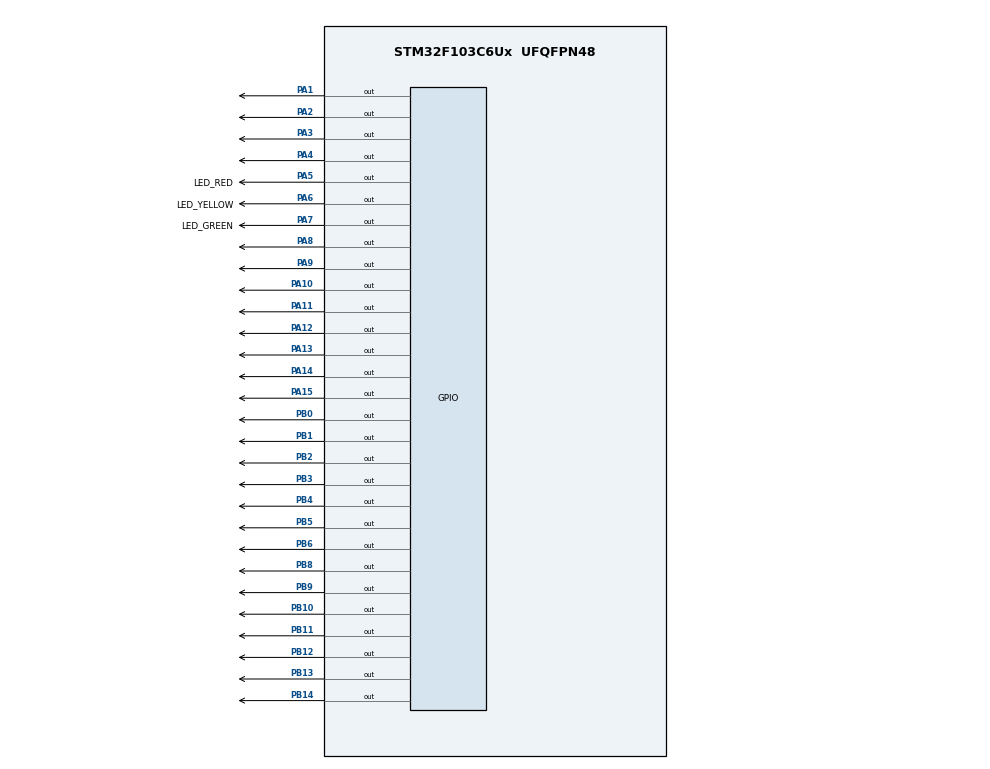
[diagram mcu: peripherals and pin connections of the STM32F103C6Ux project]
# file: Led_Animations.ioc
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Mcu.Family=STM32F1
Mcu.Name=STM32F103C6Ux
Mcu.Package=UFQFPN48
NVIC.PriorityGroup=NVIC_PRIORITYGROUP_4
PA1.Signal=GPIO_Output
PA10.Signal=GPIO_Output
PA11.Signal=GPIO_Output
PA12.Signal=GPIO_Output
PA13.Signal=GPIO_Output
PA14.Signal=GPIO_Output
PA15.Signal=GPIO_Output
PA2.Signal=GPIO_Output
PA3.Signal=GPIO_Output
PA4.Signal=GPIO_Output
PA5.GPIO_Label=LED_RED
PA5.Signal=GPIO_Output
PA6.GPIO_Label=LED_YELLOW
PA6.Signal=GPIO_Output
PA7.GPIO_Label=LED_GREEN
PA7.Signal=GPIO_Output
PA8.Signal=GPIO_Output
PA9.Signal=GPIO_Output
PB0.Signal=GPIO_Output
PB1.Signal=GPIO_Output
PB10.Signal=GPIO_Output
PB11.Signal=GPIO_Output
PB12.Signal=GPIO_Output
PB13.Signal=GPIO_Output
PB14.Signal=GPIO_Output
PB2.Signal=GPIO_Output
PB3.Signal=GPIO_Output
PB4.Signal=GPIO_Output
PB5.Signal=GPIO_Output
PB6.Signal=GPIO_Output
PB8.Signal=GPIO_Output
PB9.Signal=GPIO_Output
ProjectManager.HeapSize=0x200
ProjectManager.StackSize=0x400
ProjectManager.TargetToolchain=STM32CubeIDE
RCC.APB1Freq_Value=8000000
RCC.APB2Freq_Value=8000000
VP_SYS_VS_ND.Mode=No_Debug
board=custom

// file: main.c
/* USER CODE BEGIN Header */
/**
  ******************************************************************************
  * @file           : main.c
  * @brief          : Main program body
  ******************************************************************************
  * @attention
  *
  * <h2><center>&copy; Copyright (c) 2024 STMicroelectronics.
  * All rights reserved.</center></h2>
  *
  * This software component is licensed by ST under BSD 3-Clause license,
  * the "License"; You may not use this file except in compliance with the
  * License. You may obtain a copy of the License at:
  *                        opensource.org/licenses/BSD-3-Clause
  *
  ******************************************************************************
  */
/* USER CODE END Header */
#include "main.h"

void SystemClock_Config(void);
static void MX_GPIO_Init(void);

/* USER CODE BEGIN 0 */
void display7SEG(int num){
	if (num == 0){
		HAL_GPIO_WritePin(GPIOB, GPIO_PIN_0, SET);
		HAL_GPIO_WritePin(GPIOB, GPIO_PIN_1, RESET);
		HAL_GPIO_WritePin(GPIOB, GPIO_PIN_2, RESET);
		HAL_GPIO_WritePin(GPIOB, GPIO_PIN_3, RESET);
		HAL_GPIO_WritePin(GPIOB, GPIO_PIN_4, RESET);
		HAL_GPIO_WritePin(GPIOB, GPIO_PIN_5, RESET);
		HAL_GPIO_WritePin(GPIOB, GPIO_PIN_6, RESET);
		HAL_GPIO_WritePin(GPIOB, GPIO_PIN_7, RESET);
	}else if (num == 1){
		HAL_GPIO_WritePin(GPIOB, GPIO_PIN_0, SET);
		HAL_GPIO_WritePin(GPIOB, GPIO_PIN_1, SET);
		HAL_GPIO_WritePin(GPIOB, GPIO_PIN_2, SET);
		HAL_GPIO_WritePin(GPIOB, GPIO_PIN_3, SET);
		HAL_GPIO_WritePin(GPIOB, GPIO_PIN_4, RESET);
		HAL_GPIO_WritePin(GPIOB, GPIO_PIN_5, RESET);
		HAL_GPIO_WritePin(GPIOB, GPIO_PIN_6, SET);
		HAL_GPIO_WritePin(GPIOB, GPIO_PIN_7, SET);
	}else if (num == 2){
		HAL_GPIO_WritePin(GPIOB, GPIO_PIN_0, RESET);
		HAL_GPIO_WritePin(GPIOB, GPIO_PIN_1, SET);
		HAL_GPIO_WritePin(GPIOB, GPIO_PIN_2, RESET);
		HAL_GPIO_WritePin(GPIOB, GPIO_PIN_3, RESET);
		HAL_GPIO_WritePin(GPIOB, GPIO_PIN_4, SET);
		HAL_GPIO_WritePin(GPIOB, GPIO_PIN_5, RESET);
		HAL_GPIO_WritePin(GPIOB, GPIO_PIN_6, RESET);
		HAL_GPIO_WritePin(GPIOB, GPIO_PIN_7, SET);
	}else if (num == 3){
		HAL_GPIO_WritePin(GPIOB, GPIO_PIN_0, RESET);
		HAL_GPIO_WritePin(GPIOB, GPIO_PIN_1, SET);
		HAL_GPIO_WritePin(GPIOB, GPIO_PIN_2, SET);
		HAL_GPIO_WritePin(GPIOB, GPIO_PIN_3, RESET);
		HAL_GPIO_WritePin(GPIOB, GPIO_PIN_4, RESET);
		HAL_GPIO_WritePin(GPIOB, GPIO_PIN_5, RESET);
		HAL_GPIO_WritePin(GPIOB, GPIO_PIN_6, RESET);
		HAL_GPIO_WritePin(GPIOB, GPIO_PIN_7, RESET);
	}else if (num == 4){
		HAL_GPIO_WritePin(GPIOB, GPIO_PIN_0, RESET);
		HAL_GPIO_WritePin(GPIOB, GPIO_PIN_1, RESET);
		HAL_GPIO_WritePin(GPIOB, GPIO_PIN_2, SET);
		HAL_GPIO_WritePin(GPIOB, GPIO_PIN_3, SET);
		HAL_GPIO_WritePin(GPIOB, GPIO_PIN_4, RESET);
		HAL_GPIO_WritePin(GPIOB, GPIO_PIN_5, RESET);
		HAL_GPIO_WritePin(GPIOB, GPIO_PIN_6, SET);
		HAL_GPIO_WritePin(GPIOB, GPIO_PIN_7, RESET);
	}else if (num == 5){
		HAL_GPIO_WritePin(GPIOB, GPIO_PIN_0, RESET);
		HAL_GPIO_WritePin(GPIOB, GPIO_PIN_1, RESET);
		HAL_GPIO_WritePin(GPIOB, GPIO_PIN_2, SET);
		HAL_GPIO_WritePin(GPIOB, GPIO_PIN_3, RESET);
		HAL_GPIO_WritePin(GPIOB, GPIO_PIN_4, RESET);
		HAL_GPIO_WritePin(GPIOB, GPIO_PIN_5, SET);
		HAL_GPIO_WritePin(GPIOB, GPIO_PIN_6, RESET);
		HAL_GPIO_WritePin(GPIOB, GPIO_PIN_7, RESET);
	}else if (num == 6){
		HAL_GPIO_WritePin(GPIOB, GPIO_PIN_0, RESET);
		HAL_GPIO_WritePin(GPIOB, GPIO_PIN_1, RESET);
		HAL_GPIO_WritePin(GPIOB, GPIO_PIN_2, RESET);
		HAL_GPIO_WritePin(GPIOB, GPIO_PIN_3, RESET);
		HAL_GPIO_WritePin(GPIOB, GPIO_PIN_4, RESET);
		HAL_GPIO_WritePin(GPIOB, GPIO_PIN_5, SET);
		HAL_GPIO_WritePin(GPIOB, GPIO_PIN_6, RESET);
		HAL_GPIO_WritePin(GPIOB, GPIO_PIN_7, RESET);
	}else if (num == 7){
		HAL_GPIO_WritePin(GPIOB, GPIO_PIN_0, SET);
		HAL_GPIO_WritePin(GPIOB, GPIO_PIN_1, SET);
		HAL_GPIO_WritePin(GPIOB, GPIO_PIN_2, SET);
		HAL_GPIO_WritePin(GPIOB, GPIO_PIN_3, SET);
		HAL_GPIO_WritePin(GPIOB, GPIO_PIN_4, RESET);
		HAL_GPIO_WritePin(GPIOB, GPIO_PIN_5, RESET);
		HAL_GPIO_WritePin(GPIOB, GPIO_PIN_6, RESET);
		HAL_GPIO_WritePin(GPIOB, GPIO_PIN_7, RESET);
	}else if (num == 8){
		HAL_GPIO_WritePin(GPIOB, GPIO_PIN_0, RESET);
		HAL_GPIO_WritePin(GPIOB, GPIO_PIN_1, RESET);
		HAL_GPIO_WritePin(GPIOB, GPIO_PIN_2, RESET);
		HAL_GPIO_WritePin(GPIOB, GPIO_PIN_3, RESET);
		HAL_GPIO_WritePin(GPIOB, GPIO_PIN_4, RESET);
		HAL_GPIO_WritePin(GPIOB, GPIO_PIN_5, RESET);
		HAL_GPIO_WritePin(GPIOB, GPIO_PIN_6, RESET);
		HAL_GPIO_WritePin(GPIOB, GPIO_PIN_7, RESET);
	}else {
		HAL_GPIO_WritePin(GPIOB, GPIO_PIN_0, RESET);
		HAL_GPIO_WritePin(GPIOB, GPIO_PIN_1, RESET);
		HAL_GPIO_WritePin(GPIOB, GPIO_PIN_2, SET);
		HAL_GPIO_WritePin(GPIOB, GPIO_PIN_3, RESET);
		HAL_GPIO_WritePin(GPIOB, GPIO_PIN_4, RESET);
		HAL_GPIO_WritePin(GPIOB, GPIO_PIN_5, RESET);
		HAL_GPIO_WritePin(GPIOB, GPIO_PIN_6, RESET);
		HAL_GPIO_WritePin(GPIOB, GPIO_PIN_7, RESET);
	}
}

void display7SEG2(int num){
	if (num == 0){
		HAL_GPIO_WritePin(GPIOB, GPIO_PIN_8, SET);
		HAL_GPIO_WritePin(GPIOB, GPIO_PIN_9, RESET);
		HAL_GPIO_WritePin(GPIOB, GPIO_PIN_10, RESET);
		HAL_GPIO_WritePin(GPIOB, GPIO_PIN_11, RESET);
		HAL_GPIO_WritePin(GPIOB, GPIO_PIN_12, RESET);
		HAL_GPIO_WritePin(GPIOB, GPIO_PIN_13, RESET);
		HAL_GPIO_WritePin(GPIOB, GPIO_PIN_14, RESET);
	}else if (num == 1){
		HAL_GPIO_WritePin(GPIOB, GPIO_PIN_8, SET);
		HAL_GPIO_WritePin(GPIOB, GPIO_PIN_9, SET);
		HAL_GPIO_WritePin(GPIOB, GPIO_PIN_10, SET);
		HAL_GPIO_WritePin(GPIOB, GPIO_PIN_11, SET);
		HAL_GPIO_WritePin(GPIOB, GPIO_PIN_12, RESET);
		HAL_GPIO_WritePin(GPIOB, GPIO_PIN_13, RESET);
		HAL_GPIO_WritePin(GPIOB, GPIO_PIN_14, SET);
	}else if (num == 2){
		HAL_GPIO_WritePin(GPIOB, GPIO_PIN_8, RESET);
		HAL_GPIO_WritePin(GPIOB, GPIO_PIN_9, SET);
		HAL_GPIO_WritePin(GPIOB, GPIO_PIN_10, RESET);
		HAL_GPIO_WritePin(GPIOB, GPIO_PIN_11, RESET);
		HAL_GPIO_WritePin(GPIOB, GPIO_PIN_12, SET);
		HAL_GPIO_WritePin(GPIOB, GPIO_PIN_13, RESET);
		HAL_GPIO_WritePin(GPIOB, GPIO_PIN_14, RESET);
	}else if (num == 3){
		HAL_GPIO_WritePin(GPIOB, GPIO_PIN_8, RESET);
		HAL_GPIO_WritePin(GPIOB, GPIO_PIN_9, SET);
		HAL_GPIO_WritePin(GPIOB, GPIO_PIN_10, SET);
		HAL_GPIO_WritePin(GPIOB, GPIO_PIN_11, RESET);
		HAL_GPIO_WritePin(GPIOB, GPIO_PIN_12, RESET);
		HAL_GPIO_WritePin(GPIOB, GPIO_PIN_13, RESET);
		HAL_GPIO_WritePin(GPIOB, GPIO_PIN_14, RESET);
	}else if (num == 4){
		HAL_GPIO_WritePin(GPIOB, GPIO_PIN_8, RESET);
		HAL_GPIO_WritePin(GPIOB, GPIO_PIN_9, RESET);
		HAL_GPIO_WritePin(GPIOB, GPIO_PIN_10, SET);
		HAL_GPIO_WritePin(GPIOB, GPIO_PIN_11, SET);
		HAL_GPIO_WritePin(GPIOB, GPIO_PIN_12, RESET);
		HAL_GPIO_WritePin(GPIOB, GPIO_PIN_13, RESET);
		HAL_GPIO_WritePin(GPIOB, GPIO_PIN_14, SET);
	}else if (num == 5){
		HAL_GPIO_WritePin(GPIOB, GPIO_PIN_8, RESET);
		HAL_GPIO_WritePin(GPIOB, GPIO_PIN_9, RESET);
		HAL_GPIO_WritePin(GPIOB, GPIO_PIN_10, SET);
		HAL_GPIO_WritePin(GPIOB, GPIO_PIN_11, RESET);
		HAL_GPIO_WritePin(GPIOB, GPIO_PIN_12, RESET);
		HAL_GPIO_WritePin(GPIOB, GPIO_PIN_13, SET);
		HAL_GPIO_WritePin(GPIOB, GPIO_PIN_14, RESET);
	}else if (num == 6){
		HAL_GPIO_WritePin(GPIOB, GPIO_PIN_0, RESET);
		HAL_GPIO_WritePin(GPIOB, GPIO_PIN_1, RESET);
		HAL_GPIO_WritePin(GPIOB, GPIO_PIN_2, RESET);
		HAL_GPIO_WritePin(GPIOB, GPIO_PIN_3, RESET);
		HAL_GPIO_WritePin(GPIOB, GPIO_PIN_4, RESET);
		HAL_GPIO_WritePin(GPIOB, GPIO_PIN_5, SET);
		HAL_GPIO_WritePin(GPIOB, GPIO_PIN_6, RESET);
	}else if (num == 7){
		HAL_GPIO_WritePin(GPIOB, GPIO_PIN_0, SET);
		HAL_GPIO_WritePin(GPIOB, GPIO_PIN_1, SET);
		HAL_GPIO_WritePin(GPIOB, GPIO_PIN_2, SET);
		HAL_GPIO_WritePin(GPIOB, GPIO_PIN_3, SET);
		HAL_GPIO_WritePin(GPIOB, GPIO_PIN_4, RESET);
		HAL_GPIO_WritePin(GPIOB, GPIO_PIN_5, RESET);
		HAL_GPIO_WritePin(GPIOB, GPIO_PIN_6, RESET);
	}else if (num == 8){
		HAL_GPIO_WritePin(GPIOB, GPIO_PIN_0, RESET);
		HAL_GPIO_WritePin(GPIOB, GPIO_PIN_1, RESET);
		HAL_GPIO_WritePin(GPIOB, GPIO_PIN_2, RESET);
		HAL_GPIO_WritePin(GPIOB, GPIO_PIN_3, RESET);
		HAL_GPIO_WritePin(GPIOB, GPIO_PIN_4, RESET);
		HAL_GPIO_WritePin(GPIOB, GPIO_PIN_5, RESET);
		HAL_GPIO_WritePin(GPIOB, GPIO_PIN_6, RESET);
	}else {
		HAL_GPIO_WritePin(GPIOB, GPIO_PIN_0, RESET);
		HAL_GPIO_WritePin(GPIOB, GPIO_PIN_1, RESET);
		HAL_GPIO_WritePin(GPIOB, GPIO_PIN_2, SET);
		HAL_GPIO_WritePin(GPIOB, GPIO_PIN_3, RESET);
		HAL_GPIO_WritePin(GPIOB, GPIO_PIN_4, RESET);
		HAL_GPIO_WritePin(GPIOB, GPIO_PIN_5, RESET);
		HAL_GPIO_WritePin(GPIOB, GPIO_PIN_6, RESET);
	}
}

void clearAllClock(){
	  HAL_GPIO_WritePin(GPIOA, GPIO_PIN_4, SET);
	  HAL_GPIO_WritePin(GPIOA, GPIO_PIN_5, SET);
	  HAL_GPIO_WritePin(GPIOA, GPIO_PIN_6, SET);
	  HAL_GPIO_WritePin(GPIOA, GPIO_PIN_7, SET);
	  HAL_GPIO_WritePin(GPIOA, GPIO_PIN_8, SET);
	  HAL_GPIO_WritePin(GPIOA, GPIO_PIN_9, SET);
	  HAL_GPIO_WritePin(GPIOA, GPIO_PIN_10, SET);
	  HAL_GPIO_WritePin(GPIOA, GPIO_PIN_11, SET);
	  HAL_GPIO_WritePin(GPIOA, GPIO_PIN_12, SET);
	  HAL_GPIO_WritePin(GPIOA, GPIO_PIN_13, SET);
	  HAL_GPIO_WritePin(GPIOA, GPIO_PIN_14, SET);
	  HAL_GPIO_WritePin(GPIOA, GPIO_PIN_15, SET);

}

void setNumberOnClock(int num){
	if(num == 0){
		  HAL_GPIO_WritePin(GPIOA, GPIO_PIN_4, RESET);

	}else if (num == 1){
		  HAL_GPIO_WritePin(GPIOA, GPIO_PIN_5, RESET);
	}else if (num == 2){
		  HAL_GPIO_WritePin(GPIOA, GPIO_PIN_6, RESET);
	}else if (num == 3){
		  HAL_GPIO_WritePin(GPIOA, GPIO_PIN_7, RESET);
	}else if (num == 4){
		  HAL_GPIO_WritePin(GPIOA, GPIO_PIN_8, RESET);
	}else if (num == 5){
		  HAL_GPIO_WritePin(GPIOA, GPIO_PIN_9, RESET);
	}else if (num == 6){
		  HAL_GPIO_WritePin(GPIOA, GPIO_PIN_10, RESET);
	}else if (num == 7){
		  HAL_GPIO_WritePin(GPIOA, GPIO_PIN_11, RESET);
	}else if (num == 8){
		  HAL_GPIO_WritePin(GPIOA, GPIO_PIN_12, RESET);
	}else if (num == 9){
		  HAL_GPIO_WritePin(GPIOA, GPIO_PIN_13, RESET);
	}else if (num == 10){
		  HAL_GPIO_WritePin(GPIOA, GPIO_PIN_14, RESET);
	}else {
		  HAL_GPIO_WritePin(GPIOA, GPIO_PIN_15, RESET);
	}
}

void clearNumberOnClock(int num){
	if(num == 0){
		  HAL_GPIO_WritePin(GPIOA, GPIO_PIN_4, SET);
	}else if (num == 1){
		  HAL_GPIO_WritePin(GPIOA, GPIO_PIN_5, SET);
	}else if (num == 2){
		  HAL_GPIO_WritePin(GPIOA, GPIO_PIN_6, SET);
	}else if (num == 3){
		  HAL_GPIO_WritePin(GPIOA, GPIO_PIN_7, SET);
	}else if (num == 4){
		  HAL_GPIO_WritePin(GPIOA, GPIO_PIN_8, SET);
	}else if (num == 5){
		  HAL_GPIO_WritePin(GPIOA, GPIO_PIN_9, SET);
	}else if (num == 6){
		  HAL_GPIO_WritePin(GPIOA, GPIO_PIN_10, SET);
	}else if (num == 7){
		  HAL_GPIO_WritePin(GPIOA, GPIO_PIN_11, SET);
	}else if (num == 8){
		  HAL_GPIO_WritePin(GPIOA, GPIO_PIN_12, SET);
	}else if (num == 9){
		  HAL_GPIO_WritePin(GPIOA, GPIO_PIN_13, SET);
	}else if (num == 10){
		  HAL_GPIO_WritePin(GPIOA, GPIO_PIN_14, SET);
	}else {
		  HAL_GPIO_WritePin(GPIOA, GPIO_PIN_15, SET);
	}
}

/* USER CODE END 0 */

int main(void)
{

  /* MCU Configuration--------------------------------------------------------*/

  /* Reset of all peripherals, Initializes the Flash interface and the Systick. */
  HAL_Init();

  /* Configure the system clock */
  SystemClock_Config();

  /* Initialize all configured peripherals */
  MX_GPIO_Init();

  /* Infinite loop */
  /* USER CODE BEGIN WHILE */
  int h = 0;
  int m = 0;
  int s = 0;
  while (1)
  {
////	  	4.1
//	  HAL_GPIO_TogglePin(GPIOA, GPIO_PIN_2);
//
//	  HAL_Delay(2000);
//
//	  HAL_GPIO_TogglePin(GPIOA, GPIO_PIN_3);

	  //	4.2
//	  	  HAL_GPIO_WritePin(GPIOA, GPIO_PIN_3, SET);
//	  	  HAL_GPIO_WritePin(GPIOA, GPIO_PIN_1, SET);
//
//	  	  HAL_Delay(5000);
//
//	  	  HAL_GPIO_WritePin(GPIOA, GPIO_PIN_2, SET);
//
//
//	  	  HAL_GPIO_WritePin(GPIOA, GPIO_PIN_3, RESET);
//
//	  	  HAL_Delay(2000);
//
//	  	  HAL_GPIO_WritePin(GPIOA, GPIO_PIN_3, SET);
//
//	  	  HAL_GPIO_WritePin(GPIOA, GPIO_PIN_1, RESET);
//
//	  	  HAL_Delay(3000);
//
//	  	  HAL_GPIO_WritePin(GPIOA, GPIO_PIN_2, RESET);

	  //	4.3
//	  	  HAL_GPIO_WritePin(GPIOA, GPIO_PIN_5, RESET);
//		  HAL_GPIO_WritePin(GPIOA, GPIO_PIN_6, SET);
//		  HAL_GPIO_WritePin(GPIOA, GPIO_PIN_7, SET);
//
//		  HAL_GPIO_WritePin(GPIOA, GPIO_PIN_8, SET);
//		  HAL_GPIO_WritePin(GPIOA, GPIO_PIN_9, SET);
//		  HAL_GPIO_WritePin(GPIOA, GPIO_PIN_10, RESET);
//
//		  HAL_Delay(3000);	///////////////////////////////////////////////////////
//
//		  HAL_GPIO_WritePin(GPIOA, GPIO_PIN_10, SET);
//		  HAL_GPIO_WritePin(GPIOA, GPIO_PIN_9, RESET);
//
//		  HAL_Delay(2000);	///////////////////////////////////////////////////////
//
//		  HAL_GPIO_WritePin(GPIOA, GPIO_PIN_5, SET);
//		  HAL_GPIO_WritePin(GPIOA, GPIO_PIN_7, RESET);
//
//		  HAL_GPIO_WritePin(GPIOA, GPIO_PIN_8, RESET);
//		  HAL_GPIO_WritePin(GPIOA, GPIO_PIN_9, SET);
//
//
//		  HAL_Delay(3000);	///////////////////////////////////////////////////////
//
//		  HAL_GPIO_WritePin(GPIOA, GPIO_PIN_7, SET);
//		  HAL_GPIO_WritePin(GPIOA, GPIO_PIN_6, RESET);
//
//
//
//		  HAL_Delay(2000);	///////////////////////////////////////////////////////

//	  //	4.4
	  HAL_GPIO_WritePin(GPIOA, GPIO_PIN_5, RESET);
	  HAL_GPIO_WritePin(GPIOA, GPIO_PIN_6, SET);
	  HAL_GPIO_WritePin(GPIOA, GPIO_PIN_7, SET);

	  HAL_GPIO_WritePin(GPIOA, GPIO_PIN_8, SET);
	  HAL_GPIO_WritePin(GPIOA, GPIO_PIN_9, SET);
	  HAL_GPIO_WritePin(GPIOA, GPIO_PIN_10, RESET);

	  display7SEG2(2);
	  display7SEG(4);
	  HAL_Delay(1000);

	  display7SEG2(1);
	  display7SEG(3);
	  HAL_Delay(1000);

	  display7SEG2(0);
	  display7SEG(2);

	  HAL_Delay(1000);	/////////////////////////////////////////////////////// 3000

	  HAL_GPIO_WritePin(GPIOA, GPIO_PIN_10, SET);
	  HAL_GPIO_WritePin(GPIOA, GPIO_PIN_9, RESET);

	  display7SEG2(1);
	  display7SEG(1);
	  HAL_Delay(1000);

	  display7SEG2(0);
	  display7SEG(0);

	  HAL_Delay(1000);	///////////////////////////////////////////////////////	2000

	  HAL_GPIO_WritePin(GPIOA, GPIO_PIN_5, SET);
	  HAL_GPIO_WritePin(GPIOA, GPIO_PIN_7, RESET);

	  HAL_GPIO_WritePin(GPIOA, GPIO_PIN_8, RESET);
	  HAL_GPIO_WritePin(GPIOA, GPIO_PIN_9, SET);

	  display7SEG2(4);
	  display7SEG(2);
	  HAL_Delay(1000);

	  display7SEG2(3);
	  display7SEG(1);
	  HAL_Delay(1000);

	  display7SEG2(2);
	  display7SEG(0);

	  HAL_Delay(1000);	///////////////////////////////////////////////////////	3000

	  HAL_GPIO_WritePin(GPIOA, GPIO_PIN_7, SET);
	  HAL_GPIO_WritePin(GPIOA, GPIO_PIN_6, RESET);

	  display7SEG2(1);
	  display7SEG(1);
	  HAL_Delay(1000);

	  display7SEG2(0);
	  display7SEG(0);

	  HAL_Delay(1000);	///////////////////////////////////////////////////////	2000

////	  	4.6
//	  HAL_GPIO_WritePin(GPIOA, GPIO_PIN_4, RESET);
//	  HAL_GPIO_WritePin(GPIOA, GPIO_PIN_5, SET);
//	  HAL_GPIO_WritePin(GPIOA, GPIO_PIN_6, SET);
//	  HAL_GPIO_WritePin(GPIOA, GPIO_PIN_7, SET);
//	  HAL_GPIO_WritePin(GPIOA, GPIO_PIN_8, SET);
//	  HAL_GPIO_WritePin(GPIOA, GPIO_PIN_9, SET);
//	  HAL_GPIO_WritePin(GPIOA, GPIO_PIN_10, SET);
//	  HAL_GPIO_WritePin(GPIOA, GPIO_PIN_11, SET);
//	  HAL_GPIO_WritePin(GPIOA, GPIO_PIN_12, SET);
//	  HAL_GPIO_WritePin(GPIOA, GPIO_PIN_13, SET);
//	  HAL_GPIO_WritePin(GPIOA, GPIO_PIN_14, SET);
//	  HAL_GPIO_WritePin(GPIOA, GPIO_PIN_15, SET);
//
//	  HAL_Delay(1000);	///////////////////////////////////////////////////////	1
//
//	  HAL_GPIO_WritePin(GPIOA, GPIO_PIN_4, SET);
//	  HAL_GPIO_WritePin(GPIOA, GPIO_PIN_5, RESET);
//	  HAL_GPIO_WritePin(GPIOA, GPIO_PIN_6, SET);
//	  HAL_GPIO_WritePin(GPIOA, GPIO_PIN_7, SET);
//	  HAL_GPIO_WritePin(GPIOA, GPIO_PIN_8, SET);
//	  HAL_GPIO_WritePin(GPIOA, GPIO_PIN_9, SET);
//	  HAL_GPIO_WritePin(GPIOA, GPIO_PIN_10, SET);
//	  HAL_GPIO_WritePin(GPIOA, GPIO_PIN_11, SET);
//	  HAL_GPIO_WritePin(GPIOA, GPIO_PIN_12, SET);
//	  HAL_GPIO_WritePin(GPIOA, GPIO_PIN_13, SET);
//	  HAL_GPIO_WritePin(GPIOA, GPIO_PIN_14, SET);
//	  HAL_GPIO_WritePin(GPIOA, GPIO_PIN_15, SET);
//
//	  HAL_Delay(1000);	///////////////////////////////////////////////////////	2
//
//	  HAL_GPIO_WritePin(GPIOA, GPIO_PIN_4, SET);
//	  HAL_GPIO_WritePin(GPIOA, GPIO_PIN_5, SET);
//	  HAL_GPIO_WritePin(GPIOA, GPIO_PIN_6, RESET);
//	  HAL_GPIO_WritePin(GPIOA, GPIO_PIN_7, SET);
//	  HAL_GPIO_WritePin(GPIOA, GPIO_PIN_8, SET);
//	  HAL_GPIO_WritePin(GPIOA, GPIO_PIN_9, SET);
//	  HAL_GPIO_WritePin(GPIOA, GPIO_PIN_10, SET);
//	  HAL_GPIO_WritePin(GPIOA, GPIO_PIN_11, SET);
//	  HAL_GPIO_WritePin(GPIOA, GPIO_PIN_12, SET);
//	  HAL_GPIO_WritePin(GPIOA, GPIO_PIN_13, SET);
//	  HAL_GPIO_WritePin(GPIOA, GPIO_PIN_14, SET);
//	  HAL_GPIO_WritePin(GPIOA, GPIO_PIN_15, SET);
//
//	  HAL_Delay(1000);	///////////////////////////////////////////////////////	3
//
//	  HAL_GPIO_WritePin(GPIOA, GPIO_PIN_4, SET);
//	  HAL_GPIO_WritePin(GPIOA, GPIO_PIN_5, SET);
//	  HAL_GPIO_WritePin(GPIOA, GPIO_PIN_6, SET);
//	  HAL_GPIO_WritePin(GPIOA, GPIO_PIN_7, RESET);
//	  HAL_GPIO_WritePin(GPIOA, GPIO_PIN_8, SET);
//	  HAL_GPIO_WritePin(GPIOA, GPIO_PIN_9, SET);
//	  HAL_GPIO_WritePin(GPIOA, GPIO_PIN_10, SET);
//	  HAL_GPIO_WritePin(GPIOA, GPIO_PIN_11, SET);
//	  HAL_GPIO_WritePin(GPIOA, GPIO_PIN_12, SET);
//	  HAL_GPIO_WritePin(GPIOA, GPIO_PIN_13, SET);
//	  HAL_GPIO_WritePin(GPIOA, GPIO_PIN_14, SET);
//	  HAL_GPIO_WritePin(GPIOA, GPIO_PIN_15, SET);
//
//	  HAL_Delay(1000);	///////////////////////////////////////////////////////	4
//
//	  HAL_GPIO_WritePin(GPIOA, GPIO_PIN_4, SET);
//	  HAL_GPIO_WritePin(GPIOA, GPIO_PIN_5, SET);
//	  HAL_GPIO_WritePin(GPIOA, GPIO_PIN_6, SET);
//	  HAL_GPIO_WritePin(GPIOA, GPIO_PIN_7, SET);
//	  HAL_GPIO_WritePin(GPIOA, GPIO_PIN_8, RESET);
//	  HAL_GPIO_WritePin(GPIOA, GPIO_PIN_9, SET);
//	  HAL_GPIO_WritePin(GPIOA, GPIO_PIN_10, SET);
//	  HAL_GPIO_WritePin(GPIOA, GPIO_PIN_11, SET);
//	  HAL_GPIO_WritePin(GPIOA, GPIO_PIN_12, SET);
//	  HAL_GPIO_WritePin(GPIOA, GPIO_PIN_13, SET);
//	  HAL_GPIO_WritePin(GPIOA, GPIO_PIN_14, SET);
//	  HAL_GPIO_WritePin(GPIOA, GPIO_PIN_15, SET);
//
//	  HAL_Delay(1000);	///////////////////////////////////////////////////////	5
//
//	  HAL_GPIO_WritePin(GPIOA, GPIO_PIN_4, SET);
//	  HAL_GPIO_WritePin(GPIOA, GPIO_PIN_5, SET);
//	  HAL_GPIO_WritePin(GPIOA, GPIO_PIN_6, SET);
//	  HAL_GPIO_WritePin(GPIOA, GPIO_PIN_7, SET);
//	  HAL_GPIO_WritePin(GPIOA, GPIO_PIN_8, SET);
//	  HAL_GPIO_WritePin(GPIOA, GPIO_PIN_9, RESET);
//	  HAL_GPIO_WritePin(GPIOA, GPIO_PIN_10, SET);
//	  HAL_GPIO_WritePin(GPIOA, GPIO_PIN_11, SET);
//	  HAL_GPIO_WritePin(GPIOA, GPIO_PIN_12, SET);
//	  HAL_GPIO_WritePin(GPIOA, GPIO_PIN_13, SET);
//	  HAL_GPIO_WritePin(GPIOA, GPIO_PIN_14, SET);
//	  HAL_GPIO_WritePin(GPIOA, GPIO_PIN_15, SET);
//
//	  HAL_Delay(1000);	///////////////////////////////////////////////////////	6
//
//	  HAL_GPIO_WritePin(GPIOA, GPIO_PIN_4, SET);
//	  HAL_GPIO_WritePin(GPIOA, GPIO_PIN_5, SET);
//	  HAL_GPIO_WritePin(GPIOA, GPIO_PIN_6, SET);
//	  HAL_GPIO_WritePin(GPIOA, GPIO_PIN_7, SET);
//	  HAL_GPIO_WritePin(GPIOA, GPIO_PIN_8, SET);
//	  HAL_GPIO_WritePin(GPIOA, GPIO_PIN_9, SET);
//	  HAL_GPIO_WritePin(GPIOA, GPIO_PIN_10, RESET);
//	  HAL_GPIO_WritePin(GPIOA, GPIO_PIN_11, SET);
//	  HAL_GPIO_WritePin(GPIOA, GPIO_PIN_12, SET);
//	  HAL_GPIO_WritePin(GPIOA, GPIO_PIN_13, SET);
//	  HAL_GPIO_WritePin(GPIOA, GPIO_PIN_14, SET);
//	  HAL_GPIO_WritePin(GPIOA, GPIO_PIN_15, SET);
//
//	  HAL_Delay(1000);	///////////////////////////////////////////////////////	7
//
//	  HAL_GPIO_WritePin(GPIOA, GPIO_PIN_4, SET);
//	  HAL_GPIO_WritePin(GPIOA, GPIO_PIN_5, SET);
//	  HAL_GPIO_WritePin(GPIOA, GPIO_PIN_6, SET);
//	  HAL_GPIO_WritePin(GPIOA, GPIO_PIN_7, SET);
//	  HAL_GPIO_WritePin(GPIOA, GPIO_PIN_8, SET);
//	  HAL_GPIO_WritePin(GPIOA, GPIO_PIN_9, SET);
//	  HAL_GPIO_WritePin(GPIOA, GPIO_PIN_10, SET);
//	  HAL_GPIO_WritePin(GPIOA, GPIO_PIN_11, RESET);
//	  HAL_GPIO_WritePin(GPIOA, GPIO_PIN_12, SET);
//	  HAL_GPIO_WritePin(GPIOA, GPIO_PIN_13, SET);
//	  HAL_GPIO_WritePin(GPIOA, GPIO_PIN_14, SET);
//	  HAL_GPIO_WritePin(GPIOA, GPIO_PIN_15, SET);
//
//	  HAL_Delay(1000);	///////////////////////////////////////////////////////	8
//
//	  HAL_GPIO_WritePin(GPIOA, GPIO_PIN_4, SET);
//	  HAL_GPIO_WritePin(GPIOA, GPIO_PIN_5, SET);
//	  HAL_GPIO_WritePin(GPIOA, GPIO_PIN_6, SET);
//	  HAL_GPIO_WritePin(GPIOA, GPIO_PIN_7, SET);
//	  HAL_GPIO_WritePin(GPIOA, GPIO_PIN_8, SET);
//	  HAL_GPIO_WritePin(GPIOA, GPIO_PIN_9, SET);
//	  HAL_GPIO_WritePin(GPIOA, GPIO_PIN_10, SET);
//	  HAL_GPIO_WritePin(GPIOA, GPIO_PIN_11, SET);
//	  HAL_GPIO_WritePin(GPIOA, GPIO_PIN_12, RESET);
//	  HAL_GPIO_WritePin(GPIOA, GPIO_PIN_13, SET);
//	  HAL_GPIO_WritePin(GPIOA, GPIO_PIN_14, SET);
//	  HAL_GPIO_WritePin(GPIOA, GPIO_PIN_15, SET);
//
//	  HAL_Delay(1000);	///////////////////////////////////////////////////////	9
//
//	  HAL_GPIO_WritePin(GPIOA, GPIO_PIN_4, SET);
//	  HAL_GPIO_WritePin(GPIOA, GPIO_PIN_5, SET);
//	  HAL_GPIO_WritePin(GPIOA, GPIO_PIN_6, SET);
//	  HAL_GPIO_WritePin(GPIOA, GPIO_PIN_7, SET);
//	  HAL_GPIO_WritePin(GPIOA, GPIO_PIN_8, SET);
//	  HAL_GPIO_WritePin(GPIOA, GPIO_PIN_9, SET);
//	  HAL_GPIO_WritePin(GPIOA, GPIO_PIN_10, SET);
//	  HAL_GPIO_WritePin(GPIOA, GPIO_PIN_11, SET);
//	  HAL_GPIO_WritePin(GPIOA, GPIO_PIN_12, SET);
//	  HAL_GPIO_WritePin(GPIOA, GPIO_PIN_13, RESET);
//	  HAL_GPIO_WritePin(GPIOA, GPIO_PIN_14, SET);
//	  HAL_GPIO_WritePin(GPIOA, GPIO_PIN_15, SET);
//
//	  HAL_Delay(1000);	///////////////////////////////////////////////////////	10
//
//	  HAL_GPIO_WritePin(GPIOA, GPIO_PIN_4, SET);
//	  HAL_GPIO_WritePin(GPIOA, GPIO_PIN_5, SET);
//	  HAL_GPIO_WritePin(GPIOA, GPIO_PIN_6, SET);
//	  HAL_GPIO_WritePin(GPIOA, GPIO_PIN_7, SET);
//	  HAL_GPIO_WritePin(GPIOA, GPIO_PIN_8, SET);
//	  HAL_GPIO_WritePin(GPIOA, GPIO_PIN_9, SET);
//	  HAL_GPIO_WritePin(GPIOA, GPIO_PIN_10, SET);
//	  HAL_GPIO_WritePin(GPIOA, GPIO_PIN_11, SET);
//	  HAL_GPIO_WritePin(GPIOA, GPIO_PIN_12, SET);
//	  HAL_GPIO_WritePin(GPIOA, GPIO_PIN_13, SET);
//	  HAL_GPIO_WritePin(GPIOA, GPIO_PIN_14, RESET);
//	  HAL_GPIO_WritePin(GPIOA, GPIO_PIN_15, SET);
//
//	  HAL_Delay(1000);	///////////////////////////////////////////////////////	11
//
//	  HAL_GPIO_WritePin(GPIOA, GPIO_PIN_4, SET);
//	  HAL_GPIO_WritePin(GPIOA, GPIO_PIN_5, SET);
//	  HAL_GPIO_WritePin(GPIOA, GPIO_PIN_6, SET);
//	  HAL_GPIO_WritePin(GPIOA, GPIO_PIN_7, SET);
//	  HAL_GPIO_WritePin(GPIOA, GPIO_PIN_8, SET);
//	  HAL_GPIO_WritePin(GPIOA, GPIO_PIN_9, SET);
//	  HAL_GPIO_WritePin(GPIOA, GPIO_PIN_10, SET);
//	  HAL_GPIO_WritePin(GPIOA, GPIO_PIN_11, SET);
//	  HAL_GPIO_WritePin(GPIOA, GPIO_PIN_12, SET);
//	  HAL_GPIO_WritePin(GPIOA, GPIO_PIN_13, SET);
//	  HAL_GPIO_WritePin(GPIOA, GPIO_PIN_14, SET);
//	  HAL_GPIO_WritePin(GPIOA, GPIO_PIN_15, RESET);
//
//	  HAL_Delay(1000);

	  //	4.10

//		  clearNumberOnClock(h);
//		  clearNumberOnClock(m/5);
//		  clearNumberOnClock(s/5);
//
//		  	  if (s == 60) {
//		  		  s = 0;
//		  		  m += 1;
//		  	  }
//		  	  if (m == 60) {
//		  		  m = 0;
//		  		  h += 1;
//		  	  }
//		  	  if (h == 12)
//		  		  h = 0;
//
//		  	  s += 1;
//
//		  	setNumberOnClock(h);
//		  	setNumberOnClock(m/5);
//		  	setNumberOnClock(s/5);
//
//		  	  HAL_Delay(20);

    /* USER CODE END WHILE */

  }
}

void SystemClock_Config(void)
{
  RCC_OscInitTypeDef RCC_OscInitStruct = {0};
  RCC_ClkInitTypeDef RCC_ClkInitStruct = {0};

  /** Initializes the RCC Oscillators according to the specified parameters
  * in the RCC_OscInitTypeDef structure.
  */
  RCC_OscInitStruct.OscillatorType = RCC_OSCILLATORTYPE_HSI;
  RCC_OscInitStruct.HSIState = RCC_HSI_ON;
  RCC_OscInitStruct.HSICalibrationValue = RCC_HSICALIBRATION_DEFAULT;
  RCC_OscInitStruct.PLL.PLLState = RCC_PLL_NONE;
  if (HAL_RCC_OscConfig(&RCC_OscInitStruct) != HAL_OK)
  {
    Error_Handler();
  }
  /** Initializes the CPU, AHB and APB buses clocks
  */
  RCC_ClkInitStruct.ClockType = RCC_CLOCKTYPE_HCLK|RCC_CLOCKTYPE_SYSCLK
                              |RCC_CLOCKTYPE_PCLK1|RCC_CLOCKTYPE_PCLK2;
  RCC_ClkInitStruct.SYSCLKSource = RCC_SYSCLKSOURCE_HSI;
  RCC_ClkInitStruct.AHBCLKDivider = RCC_SYSCLK_DIV1;
  RCC_ClkInitStruct.APB1CLKDivider = RCC_HCLK_DIV1;
  RCC_ClkInitStruct.APB2CLKDivider = RCC_HCLK_DIV1;

  if (HAL_RCC_ClockConfig(&RCC_ClkInitStruct, FLASH_LATENCY_0) != HAL_OK)
  {
    Error_Handler();
  }
}

static void MX_GPIO_Init(void)
{
  GPIO_InitTypeDef GPIO_InitStruct = {0};

  /* GPIO Ports Clock Enable */
  __HAL_RCC_GPIOA_CLK_ENABLE();
  __HAL_RCC_GPIOB_CLK_ENABLE();

  /*Configure GPIO pin Output Level */
  HAL_GPIO_WritePin(GPIOA, GPIO_PIN_1|GPIO_PIN_2|GPIO_PIN_3|GPIO_PIN_4
                          |LED_RED_Pin|LED_YELLOW_Pin|LED_GREEN_Pin|GPIO_PIN_8
                          |GPIO_PIN_9|GPIO_PIN_10|GPIO_PIN_11|GPIO_PIN_12
                          |GPIO_PIN_13|GPIO_PIN_14|GPIO_PIN_15, GPIO_PIN_RESET);

  /*Configure GPIO pin Output Level */
  HAL_GPIO_WritePin(GPIOB, GPIO_PIN_0|GPIO_PIN_1|GPIO_PIN_2|GPIO_PIN_10
                          |GPIO_PIN_11|GPIO_PIN_12|GPIO_PIN_13|GPIO_PIN_14
                          |GPIO_PIN_3|GPIO_PIN_4|GPIO_PIN_5|GPIO_PIN_6
                          |GPIO_PIN_8|GPIO_PIN_9, GPIO_PIN_RESET);

  /*Configure GPIO pins : PA1 PA2 PA3 PA4
                           LED_RED_Pin LED_YELLOW_Pin LED_GREEN_Pin PA8
                           PA9 PA10 PA11 PA12
                           PA13 PA14 PA15 */
  GPIO_InitStruct.Pin = GPIO_PIN_1|GPIO_PIN_2|GPIO_PIN_3|GPIO_PIN_4
                          |LED_RED_Pin|LED_YELLOW_Pin|LED_GREEN_Pin|GPIO_PIN_8
                          |GPIO_PIN_9|GPIO_PIN_10|GPIO_PIN_11|GPIO_PIN_12
                          |GPIO_PIN_13|GPIO_PIN_14|GPIO_PIN_15;
  GPIO_InitStruct.Mode = GPIO_MODE_OUTPUT_PP;
  GPIO_InitStruct.Pull = GPIO_NOPULL;
  GPIO_InitStruct.Speed = GPIO_SPEED_FREQ_LOW;
  HAL_GPIO_Init(GPIOA, &GPIO_InitStruct);

  /*Configure GPIO pins : PB0 PB1 PB2 PB10
                           PB11 PB12 PB13 PB14
                           PB3 PB4 PB5 PB6
                           PB8 PB9 */
  GPIO_InitStruct.Pin = GPIO_PIN_0|GPIO_PIN_1|GPIO_PIN_2|GPIO_PIN_10
                          |GPIO_PIN_11|GPIO_PIN_12|GPIO_PIN_13|GPIO_PIN_14
                          |GPIO_PIN_3|GPIO_PIN_4|GPIO_PIN_5|GPIO_PIN_6
                          |GPIO_PIN_8|GPIO_PIN_9;
  GPIO_InitStruct.Mode = GPIO_MODE_OUTPUT_PP;
  GPIO_InitStruct.Pull = GPIO_NOPULL;
  GPIO_InitStruct.Speed = GPIO_SPEED_FREQ_LOW;
  HAL_GPIO_Init(GPIOB, &GPIO_InitStruct);

}

void Error_Handler(void)
{
  __disable_irq();
  while (1)
  {
  }
}

/************************ (C) COPYRIGHT STMicroelectronics *****END OF FILE****/
